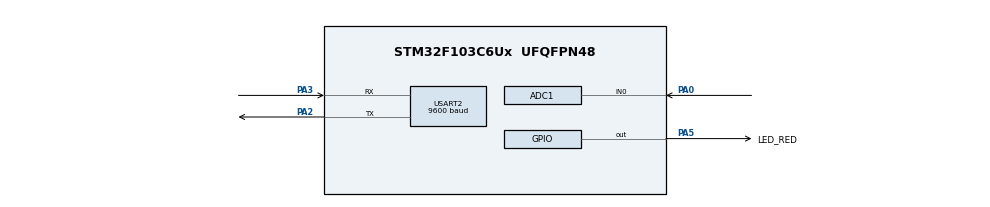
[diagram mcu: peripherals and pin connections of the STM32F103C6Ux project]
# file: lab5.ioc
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ADC1.Channel-1\#ChannelRegularConversion=ADC_CHANNEL_0
ADC1.ContinuousConvMode=ENABLE
ADC1.NbrOfConversionFlag=1
ADC1.Rank-1\#ChannelRegularConversion=1
ADC1.SamplingTime-1\#ChannelRegularConversion=ADC_SAMPLETIME_1CYCLE_5
ADC1.master=1
Mcu.Family=STM32F1
Mcu.Name=STM32F103C6Ux
Mcu.Package=UFQFPN48
NVIC.PriorityGroup=NVIC_PRIORITYGROUP_4
NVIC.TIM2_IRQn=true\:0\:0\:false\:false\:true\:true\:true\:true
NVIC.USART2_IRQn=true\:0\:0\:false\:false\:true\:true\:true\:true
PA0-WKUP.Signal=ADCx_IN0
PA2.Mode=Asynchronous
PA2.Signal=USART2_TX
PA3.Mode=Asynchronous
PA3.Signal=USART2_RX
PA5.GPIO_Label=LED_RED
PA5.Signal=GPIO_Output
ProjectManager.HeapSize=0x200
ProjectManager.StackSize=0x400
ProjectManager.TargetToolchain=STM32CubeIDE
RCC.APB1Freq_Value=8000000
RCC.APB2Freq_Value=8000000
SH.ADCx_IN0.0=ADC1_IN0,IN0
TIM2.Period=9
TIM2.Prescaler=7999
USART2.BaudRate=9600
USART2.VirtualMode=VM_ASYNC
VP_SYS_VS_ND.Mode=No_Debug
VP_TIM2_VS_ClockSourceINT.Mode=Internal
board=custom

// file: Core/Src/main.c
/* USER CODE BEGIN Header */
/**
  ******************************************************************************
  * @file           : main.c
  * @brief          : Main program body
  ******************************************************************************
  * @attention
  *
  * <h2><center>&copy; Copyright (c) 2022 STMicroelectronics.
  * All rights reserved.</center></h2>
  *
  * This software component is licensed by ST under BSD 3-Clause license,
  * the "License"; You may not use this file except in compliance with the
  * License. You may obtain a copy of the License at:
  *                        opensource.org/licenses/BSD-3-Clause
  *
  ******************************************************************************
  */
/* USER CODE END Header */
#include "main.h"

/* USER CODE BEGIN Includes */
#include "stdio.h"
#include "command_parser.h"
#include "uart_communication.h"
#include "software_timer.h"
/* USER CODE END Includes */

ADC_HandleTypeDef hadc1;

TIM_HandleTypeDef htim2;

UART_HandleTypeDef huart2;

void SystemClock_Config(void);
static void MX_GPIO_Init(void);
static void MX_ADC1_Init(void);
static void MX_USART2_UART_Init(void);
static void MX_TIM2_Init(void);

/* USER CODE BEGIN 0 */

uint8_t buffer_flag = 0;

void HAL_UART_RxCpltCallback(UART_HandleTypeDef * huart){
	if(huart->Instance == USART2 ){
//		HAL_UART_Transmit(&huart2 , &temp , 1, 50) ;
		buffer[index_buffer++] = temp ;
		if(index_buffer == 30) index_buffer = 0;
		buffer_flag = 1;
		HAL_UART_Receive_IT(&huart2 , &temp , 1);
	}
}
/* USER CODE END 0 */

int main(void)
{

  /* MCU Configuration--------------------------------------------------------*/

  /* Reset of all peripherals, Initializes the Flash interface and the Systick. */
  HAL_Init();

  /* Configure the system clock */
  SystemClock_Config();

  /* Initialize all configured peripherals */
  MX_GPIO_Init();
  MX_ADC1_Init();
  MX_USART2_UART_Init();
  MX_TIM2_Init();
  /* USER CODE BEGIN 2 */
  HAL_TIM_Base_Start_IT(&htim2 );
  HAL_UART_Receive_IT(&huart2 , &temp , 1);
  HAL_ADC_Start(&hadc1);
  setTimer0(1000);
  setTimer1(1000);

  /* USER CODE END 2 */

  /* Infinite loop */
  /* USER CODE BEGIN WHILE */
  while (1)
  {
	  if( buffer_flag == 1){
		  command_parser_fsm();
		  buffer_flag = 0;
	  }
	  uart_communication_fsm();
	  if (timer1_flag == 1){
		  	  HAL_GPIO_TogglePin(LED_RED_GPIO_Port , LED_RED_Pin);
		  	  setTimer1(500);
	  }
//	  HAL_GPIO_TogglePin(LED_RED_GPIO_Port , LED_RED_Pin);
////	  HAL_Delay(500);
//	  ADC_value = HAL_ADC_GetValue(&hadc1);
//	  HAL_UART_Transmit(&huart2 ,(void *)str , sprintf(str , "%ld\n", ADC_value), 1000);
//	  HAL_Delay(500);
    /* USER CODE END WHILE */

  }
}

void SystemClock_Config(void)
{
  RCC_OscInitTypeDef RCC_OscInitStruct = {0};
  RCC_ClkInitTypeDef RCC_ClkInitStruct = {0};
  RCC_PeriphCLKInitTypeDef PeriphClkInit = {0};

  /** Initializes the RCC Oscillators according to the specified parameters
  * in the RCC_OscInitTypeDef structure.
  */
  RCC_OscInitStruct.OscillatorType = RCC_OSCILLATORTYPE_HSI;
  RCC_OscInitStruct.HSIState = RCC_HSI_ON;
  RCC_OscInitStruct.HSICalibrationValue = RCC_HSICALIBRATION_DEFAULT;
  RCC_OscInitStruct.PLL.PLLState = RCC_PLL_NONE;
  if (HAL_RCC_OscConfig(&RCC_OscInitStruct) != HAL_OK)
  {
    Error_Handler();
  }

  /** Initializes the CPU, AHB and APB buses clocks
  */
  RCC_ClkInitStruct.ClockType = RCC_CLOCKTYPE_HCLK|RCC_CLOCKTYPE_SYSCLK
                              |RCC_CLOCKTYPE_PCLK1|RCC_CLOCKTYPE_PCLK2;
  RCC_ClkInitStruct.SYSCLKSource = RCC_SYSCLKSOURCE_HSI;
  RCC_ClkInitStruct.AHBCLKDivider = RCC_SYSCLK_DIV1;
  RCC_ClkInitStruct.APB1CLKDivider = RCC_HCLK_DIV1;
  RCC_ClkInitStruct.APB2CLKDivider = RCC_HCLK_DIV1;

  if (HAL_RCC_ClockConfig(&RCC_ClkInitStruct, FLASH_LATENCY_0) != HAL_OK)
  {
    Error_Handler();
  }
  PeriphClkInit.PeriphClockSelection = RCC_PERIPHCLK_ADC;
  PeriphClkInit.AdcClockSelection = RCC_ADCPCLK2_DIV2;
  if (HAL_RCCEx_PeriphCLKConfig(&PeriphClkInit) != HAL_OK)
  {
    Error_Handler();
  }
}

static void MX_ADC1_Init(void)
{

  ADC_ChannelConfTypeDef sConfig = {0};

  /** Common config
  */
  hadc1.Instance = ADC1;
  hadc1.Init.ScanConvMode = ADC_SCAN_DISABLE;
  hadc1.Init.ContinuousConvMode = ENABLE;
  hadc1.Init.DiscontinuousConvMode = DISABLE;
  hadc1.Init.ExternalTrigConv = ADC_SOFTWARE_START;
  hadc1.Init.DataAlign = ADC_DATAALIGN_RIGHT;
  hadc1.Init.NbrOfConversion = 1;
  if (HAL_ADC_Init(&hadc1) != HAL_OK)
  {
    Error_Handler();
  }

  /** Configure Regular Channel
  */
  sConfig.Channel = ADC_CHANNEL_0;
  sConfig.Rank = ADC_REGULAR_RANK_1;
  sConfig.SamplingTime = ADC_SAMPLETIME_1CYCLE_5;
  if (HAL_ADC_ConfigChannel(&hadc1, &sConfig) != HAL_OK)
  {
    Error_Handler();
  }

}

static void MX_TIM2_Init(void)
{

  TIM_ClockConfigTypeDef sClockSourceConfig = {0};
  TIM_MasterConfigTypeDef sMasterConfig = {0};

  htim2.Instance = TIM2;
  htim2.Init.Prescaler = 7999;
  htim2.Init.CounterMode = TIM_COUNTERMODE_UP;
  htim2.Init.Period = 9;
  htim2.Init.ClockDivision = TIM_CLOCKDIVISION_DIV1;
  htim2.Init.AutoReloadPreload = TIM_AUTORELOAD_PRELOAD_DISABLE;
  if (HAL_TIM_Base_Init(&htim2) != HAL_OK)
  {
    Error_Handler();
  }
  sClockSourceConfig.ClockSource = TIM_CLOCKSOURCE_INTERNAL;
  if (HAL_TIM_ConfigClockSource(&htim2, &sClockSourceConfig) != HAL_OK)
  {
    Error_Handler();
  }
  sMasterConfig.MasterOutputTrigger = TIM_TRGO_RESET;
  sMasterConfig.MasterSlaveMode = TIM_MASTERSLAVEMODE_DISABLE;
  if (HAL_TIMEx_MasterConfigSynchronization(&htim2, &sMasterConfig) != HAL_OK)
  {
    Error_Handler();
  }

}

static void MX_USART2_UART_Init(void)
{

  huart2.Instance = USART2;
  huart2.Init.BaudRate = 9600;
  huart2.Init.WordLength = UART_WORDLENGTH_8B;
  huart2.Init.StopBits = UART_STOPBITS_1;
  huart2.Init.Parity = UART_PARITY_NONE;
  huart2.Init.Mode = UART_MODE_TX_RX;
  huart2.Init.HwFlowCtl = UART_HWCONTROL_NONE;
  huart2.Init.OverSampling = UART_OVERSAMPLING_16;
  if (HAL_UART_Init(&huart2) != HAL_OK)
  {
    Error_Handler();
  }

}

static void MX_GPIO_Init(void)
{
  GPIO_InitTypeDef GPIO_InitStruct = {0};

  /* GPIO Ports Clock Enable */
  __HAL_RCC_GPIOA_CLK_ENABLE();

  /*Configure GPIO pin Output Level */
  HAL_GPIO_WritePin(LED_RED_GPIO_Port, LED_RED_Pin, GPIO_PIN_RESET);

  /*Configure GPIO pin : LED_RED_Pin */
  GPIO_InitStruct.Pin = LED_RED_Pin;
  GPIO_InitStruct.Mode = GPIO_MODE_OUTPUT_PP;
  GPIO_InitStruct.Pull = GPIO_NOPULL;
  GPIO_InitStruct.Speed = GPIO_SPEED_FREQ_LOW;
  HAL_GPIO_Init(LED_RED_GPIO_Port, &GPIO_InitStruct);

}

void Error_Handler(void)
{
  __disable_irq();
  while (1)
  {
  }
}
